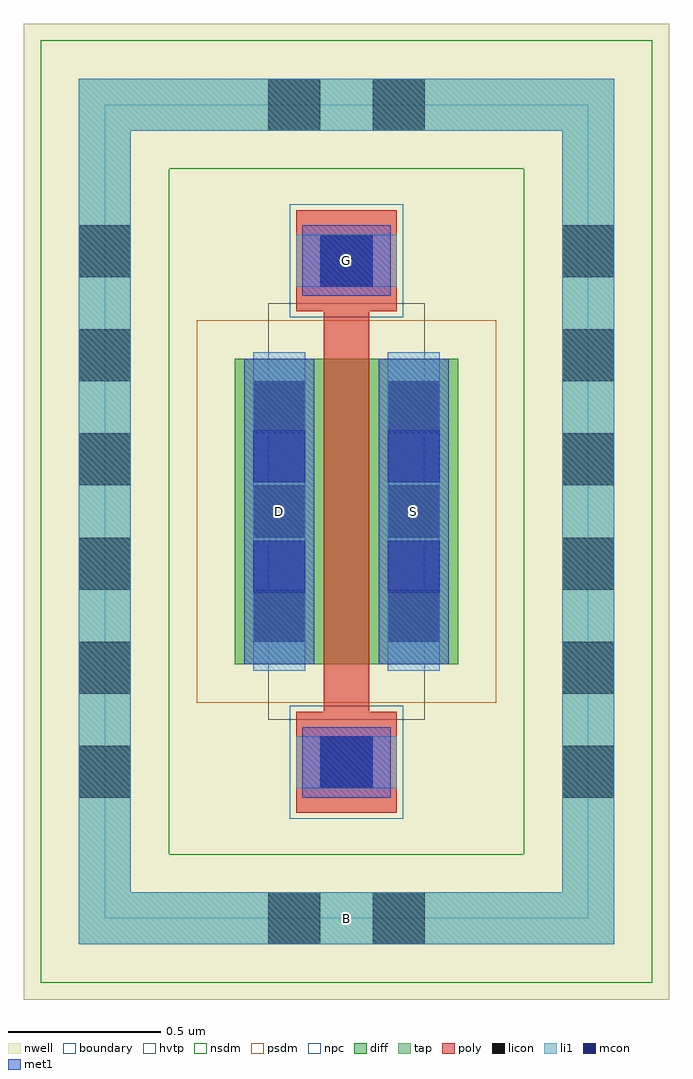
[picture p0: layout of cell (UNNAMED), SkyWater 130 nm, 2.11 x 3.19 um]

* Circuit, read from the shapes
.subckt (UNNAMED) B D G S
XM1 S G D B sky130_fd_pr__pfet_01v8_hvt w=1 l=0.15
.ends

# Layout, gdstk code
import gdstk
lib = gdstk.Library(unit=1e-6, precision=1e-09)
def R(c, l, rs):  # rectangles x0, y0, x1, y1
    for r in rs: c.add(gdstk.rectangle(r[:2], r[2:], *l))
def A(c, l, x, y, w, h, nx, ny, dx, dy):  # array of equal rectangles
    R(c, l, [(x+i*dx, y+j*dy, x+i*dx+w, y+j*dy+h) for i in range(nx) for j in range(ny)])
nwell = (64, 20)
diff = (65, 20)
tap = (65, 44)
poly = (66, 20)
licon = (66, 44)
li1 = (67, 20)
mcon = (67, 44)
met1 = (68, 20)
hvtp = (78, 44)
nsdm = (93, 44)
psdm = (94, 20)
npc = (95, 20)
boundary = (235, 4)

c__unnamed_ = lib.new_cell('(UNNAMED)')
R(c__unnamed_, nwell, [(-1.055,-1.595,1.055,1.595)])
R(c__unnamed_, diff, [(-0.365,-0.5,0.365,0.5)])
R(c__unnamed_, tap, [(-0.875,-1.415,0.875,-1.245), (-0.875,-1.245,-0.705,1.245), (0.705,-1.245,0.875,1.245), (-0.875,1.245,0.875,1.415)])
R(c__unnamed_, poly, [(-0.165,-0.985,0.165,-0.655), (-0.075,-0.655,0.075,0.655), (-0.165,0.655,0.165,0.985)])
A(c__unnamed_, licon, -0.875, -0.935, 0.17, 0.17, 1, 6, 0, 0.34)
A(c__unnamed_, licon, 0.705, -0.935, 0.17, 0.17, 1, 6, 0, 0.34)
A(c__unnamed_, licon, -0.305, -0.425, 0.17, 0.17, 1, 3, 0, 0.34)
A(c__unnamed_, licon, 0.135, -0.425, 0.17, 0.17, 1, 3, 0, 0.34)
R(c__unnamed_, licon, [(-0.255,-1.415,-0.085,-1.245), (0.085,-1.415,0.255,-1.245), (-0.085,-0.905,0.085,-0.735), (-0.085,0.735,0.085,0.905), (-0.255,1.245,-0.085,1.415), (0.085,1.245,0.255,1.415)])
R(c__unnamed_, li1, [(-0.875,-1.415,0.875,-1.245), (-0.875,-1.245,-0.705,1.245), (0.705,-1.245,0.875,1.245), (-0.165,-0.905,0.165,-0.735), (-0.305,-0.52,-0.135,0.52), (0.135,-0.52,0.305,0.52), (-0.165,0.735,0.165,0.905), (-0.875,1.245,0.875,1.415)])
R(c__unnamed_, mcon, [(-0.085,-0.905,0.085,-0.735), (-0.305,-0.265,-0.135,-0.095), (0.135,-0.265,0.305,-0.095), (-0.305,0.095,-0.135,0.265), (0.135,0.095,0.305,0.265), (-0.085,0.735,0.085,0.905)])
R(c__unnamed_, met1, [(-0.145,-0.935,0.145,-0.705), (-0.335,-0.5,-0.105,0.5), (0.105,-0.5,0.335,0.5), (-0.145,0.705,0.145,0.935)])
R(c__unnamed_, hvtp, [(-0.255,-0.68,0.255,0.68)])
R(c__unnamed_, nsdm, [(-1,-1.54,1,-1.12), (-1,-1.12,-0.58,1.12), (0.58,-1.12,1,1.12), (-1,1.12,1,1.54)])
R(c__unnamed_, psdm, [(-0.49,-0.625,0.49,0.625)])
R(c__unnamed_, npc, [(-0.185,-1.005,0.185,-0.635), (-0.185,0.635,0.185,1.005)])
R(c__unnamed_, boundary, [(-0.79,-1.33,0.79,1.33)])
c__unnamed_.add(gdstk.Label('B', (0,-1.33), layer=67, texttype=5))
c__unnamed_.add(gdstk.Label('D', (-0.22,0), layer=67, texttype=5))
c__unnamed_.add(gdstk.Label('S', (0.22,0), layer=67, texttype=5))
c__unnamed_.add(gdstk.Label('G', (0,0.82), layer=67, texttype=5))

lib.write_gds('_UNNAMED_.gds')
